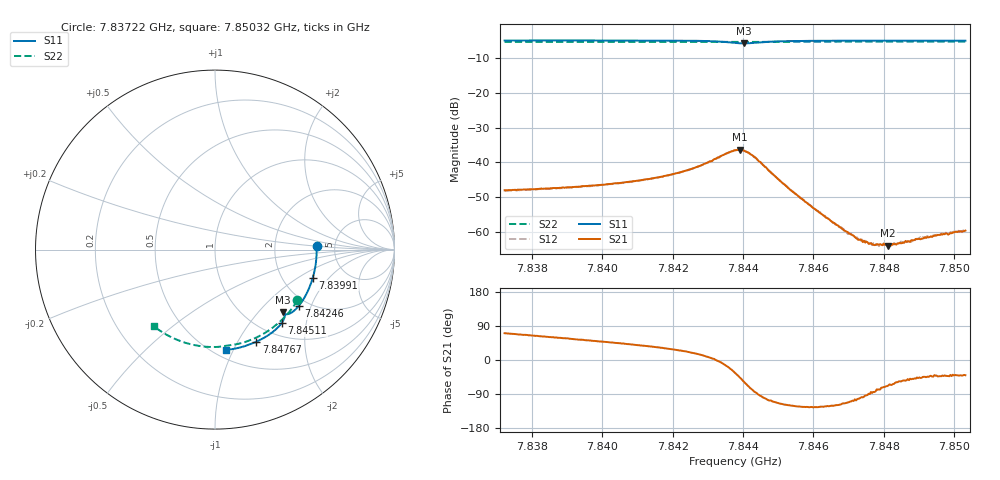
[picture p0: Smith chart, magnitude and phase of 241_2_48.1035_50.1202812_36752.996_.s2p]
#  HZ  S  RI  R  50.00
! Rohde & Schwarz Vector Network Analyzer
! Rohde-Schwarz,ZNB20-2Port,1311601062101988,3.16
! Created: UTC 12/23/2023, 3:58:45 AM
! freq[Hz]  re:S11  im:S11  re:S21  im:S21  re:S12  im:S12  re:S22  im:S22
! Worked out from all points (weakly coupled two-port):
!   401 points, 7.83722 GHz to 7.85032 GHz, reference 50 ohm
!   highest |S21| = -36.35 dB at 7.8439 GHz (marker M1); lowest = -64.0 dB at 7.84813 GHz (marker M2)
!   lowest |S11| = -5.8 dB at 7.84403 GHz (marker M3), VSWR 3.12, Z = 72.2 - j68.6 ohm
!   |S11| at or under -10 dB: nowhere
!   |S22| runs from -5.4 to -5.3 dB; largest |S21 - S12| = 0.00026
!   S11 on the Smith chart (normalised r, x): 7.83722 GHz: 3.60, +0.23; 7.83991 GHz: 2.93, -1.35; 7.84246 GHz: 1.78, -1.64; 7.84511 GHz: 1.24, -1.46; 7.84767 GHz: 0.80, -1.20; 7.85032 GHz: 0.57, -0.94
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7.83722e9  0.5659 0.0214  0.00131 0.00375  0.00132 0.00365  0.4594 -0.2831
7.839415e9  0.5533 -0.1239  0.00272 0.00363  0.00266 0.00361  0.3618 -0.4012
7.839906e9  0.5451 -0.1559  0.0031 0.00358  0.00307 0.00355  0.3356 -0.4237
7.840889e9  0.5228 -0.2187  0.0041 0.00348  0.00406 0.00348  0.2793 -0.4634
7.84161e9  0.5004 -0.2635  0.00514 0.00334  0.00509 0.00336  0.2346 -0.4876
7.842461e9  0.466 -0.3147  0.00732 0.0028  0.00729 0.0028  0.1796 -0.5107
7.84328e9  0.417 -0.3559  0.0118 -0.000471  0.0116 -0.000277  0.1239 -0.526
7.843772e9  0.3817 -0.3575  0.0125 -0.00825  0.0124 -0.00813  0.0909 -0.5313
7.843903e9  0.3776 -0.3528  0.0106 -0.0109  0.0107 -0.0108  0.0829 -0.5326
7.844034e9  0.3781 -0.3492  0.00779 -0.0125  0.00777 -0.0125  0.0745 -0.5338
7.844328e9  0.3865 -0.355  0.00123 -0.0118  0.00143 -0.0118  0.0556 -0.5374
7.845115e9  0.3728 -0.4076  -0.00225 -0.00456  -0.00225 -0.00458  0.000685 -0.5426
7.845966e9  0.3303 -0.452  -0.00127 -0.00187  -0.00127 -0.0019  -0.0594 -0.5404
7.846949e9  0.2743 -0.4908  -0.000392 -0.000927  -0.000419 -0.000884  -0.1276 -0.5292
7.847244e9  0.2567 -0.5005  -0.000187 -0.000772  -0.00021 -0.000803  -0.1477 -0.5242
7.84767e9  0.231 -0.5133  3.79e-05 -0.000664  4.43e-05 -0.000646  -0.1763 -0.5156
7.847801e9  0.2229 -0.5168  0.000141 -0.000648  8.76e-05 -0.000643  -0.1849 -0.5125
7.848128e9  0.2024 -0.5253  0.000241 -0.000583  0.000239 -0.000611  -0.2065 -0.5043
7.848161e9  0.2004 -0.526  0.000279 -0.000584  0.000278 -0.000615  -0.2086 -0.5035
7.848816e9  0.1588 -0.5401  0.00049 -0.00058  0.000487 -0.000573  -0.2506 -0.4845
7.849046e9  0.144 -0.5442  0.000531 -0.000575  0.000594 -0.000596  -0.2648 -0.477
7.850323e9  0.0605 -0.5592  0.000799 -0.000674  0.000798 -0.00069  -0.3395 -0.428
